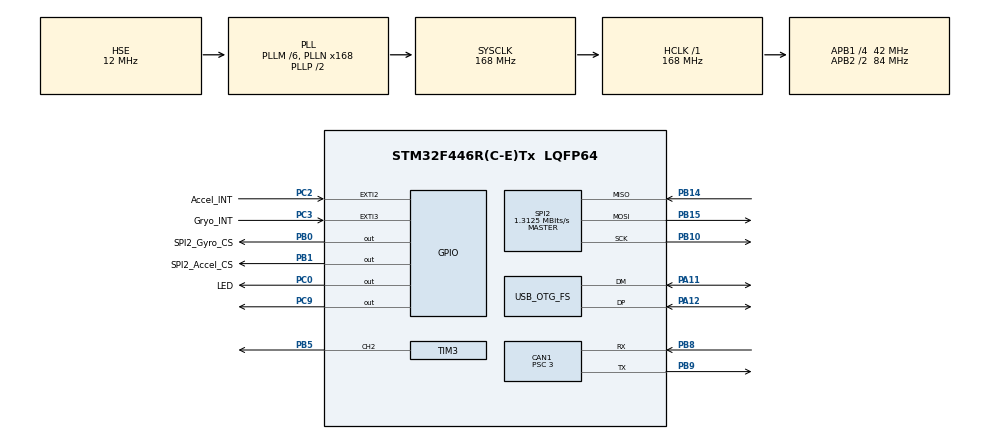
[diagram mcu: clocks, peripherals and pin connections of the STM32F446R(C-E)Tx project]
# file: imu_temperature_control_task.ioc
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CAN1.BS1=CAN_BS1_10TQ
CAN1.BS2=CAN_BS2_3TQ
CAN1.CalculateBaudRate=1000000
CAN1.CalculateTimeBit=1000
CAN1.CalculateTimeQuantum=71.42857142857143
CAN1.Prescaler=3
Dma.Request0=SPI2_RX
Dma.Request1=SPI2_TX
Dma.SPI2_RX.0.Direction=DMA_PERIPH_TO_MEMORY
Dma.SPI2_RX.0.FIFOMode=DMA_FIFOMODE_DISABLE
Dma.SPI2_RX.0.Instance=DMA1_Stream3
Dma.SPI2_RX.0.MemDataAlignment=DMA_MDATAALIGN_BYTE
Dma.SPI2_RX.0.MemInc=DMA_MINC_ENABLE
Dma.SPI2_RX.0.Mode=DMA_NORMAL
Dma.SPI2_RX.0.PeriphDataAlignment=DMA_PDATAALIGN_BYTE
Dma.SPI2_RX.0.PeriphInc=DMA_PINC_DISABLE
Dma.SPI2_RX.0.Priority=DMA_PRIORITY_VERY_HIGH
Dma.SPI2_TX.1.Direction=DMA_MEMORY_TO_PERIPH
Dma.SPI2_TX.1.FIFOMode=DMA_FIFOMODE_DISABLE
Dma.SPI2_TX.1.Instance=DMA1_Stream4
Dma.SPI2_TX.1.MemDataAlignment=DMA_MDATAALIGN_BYTE
Dma.SPI2_TX.1.MemInc=DMA_MINC_ENABLE
Dma.SPI2_TX.1.Mode=DMA_NORMAL
Dma.SPI2_TX.1.PeriphDataAlignment=DMA_PDATAALIGN_BYTE
Dma.SPI2_TX.1.PeriphInc=DMA_PINC_DISABLE
Dma.SPI2_TX.1.Priority=DMA_PRIORITY_HIGH
FREERTOS.INCLUDE_xTaskGetHandle=1
FREERTOS.Tasks01=TEMP_IMU,3,1024,imu_temp_control_task,As weak,NULL,Static,TEMP_IMUBuffer,TEMP_IMUControlBlock;Vofa,-3,512,Vofa_Task,Default,NULL,Static,VofaBuffer,VofaControlBlock
FREERTOS.configENABLE_FPU=1
Mcu.Family=STM32F4
Mcu.Name=STM32F446R(C-E)Tx
Mcu.Package=LQFP64
NVIC.CAN1_RX0_IRQn=true\:5\:0\:false\:false\:true\:true\:true\:true\:true
NVIC.DMA1_Stream3_IRQn=true\:5\:0\:false\:false\:true\:false\:false\:true\:true
NVIC.DMA1_Stream4_IRQn=true\:5\:0\:false\:false\:true\:false\:false\:true\:true
NVIC.OTG_FS_IRQn=true\:5\:0\:false\:false\:true\:false\:false\:true\:true
NVIC.PriorityGroup=NVIC_PRIORITYGROUP_4
NVIC.SPI2_IRQn=true\:5\:0\:false\:false\:true\:true\:true\:true\:true
NVIC.TIM2_IRQn=true\:15\:0\:false\:false\:true\:false\:false\:true\:true
NVIC.TIM8_BRK_TIM12_IRQn=true\:5\:0\:false\:false\:true\:true\:true\:true\:true
NVIC.TimeBase=TIM2_IRQn
NVIC.TimeBaseIP=TIM2
PA11.Mode=Device_Only
PA11.Signal=USB_OTG_FS_DM
PA12.Mode=Device_Only
PA12.Signal=USB_OTG_FS_DP
PA13.Mode=Serial_Wire
PA13.Signal=SYS_JTMS-SWDIO
PA14.Mode=Serial_Wire
PA14.Signal=SYS_JTCK-SWCLK
PB0.GPIO_Label=SPI2_Gyro_CS
PB0.Signal=GPIO_Output
PB1.GPIO_Label=SPI2_Accel_CS
PB1.Signal=GPIO_Output
PB10.Mode=Full_Duplex_Master
PB10.Signal=SPI2_SCK
PB14.Mode=Full_Duplex_Master
PB14.Signal=SPI2_MISO
PB15.Mode=Full_Duplex_Master
PB15.Signal=SPI2_MOSI
PB5.GPIO_PuPd=GPIO_PULLDOWN
PB5.GPIO_Speed=GPIO_SPEED_FREQ_HIGH
PB5.Signal=S_TIM3_CH2
PB8.Mode=CAN_Activate
PB8.Signal=CAN1_RX
PB9.Mode=CAN_Activate
PB9.Signal=CAN1_TX
PC0.GPIO_Label=LED
PC0.GPIO_ModeDefaultOutputPP=GPIO_MODE_OUTPUT_PP
PC0.GPIO_PuPd=GPIO_NOPULL
PC0.GPIO_Speed=GPIO_SPEED_FREQ_LOW
PC0.PinState=GPIO_PIN_RESET
PC0.Signal=GPIO_Output
PC2.GPIO_Label=Accel_INT
PC2.Signal=GPXTI2
PC3.GPIO_Label=Gryo_INT
PC3.GPIO_PuPd=GPIO_PULLUP
PC3.Signal=GPXTI3
PC9.GPIO_PuPd=GPIO_PULLUP
PC9.GPIO_Speed=GPIO_SPEED_FREQ_HIGH
PC9.Signal=GPIO_Output
PH0-OSC_IN.Mode=HSE-External-Oscillator
PH0-OSC_IN.Signal=RCC_OSC_IN
PH1-OSC_OUT.Mode=HSE-External-Oscillator
PH1-OSC_OUT.Signal=RCC_OSC_OUT
ProjectManager.HeapSize=0x400
ProjectManager.StackSize=0x800
ProjectManager.TargetToolchain=MDK-ARM V5.27
RCC.AHBFreq_Value=168000000
RCC.APB1CLKDivider=RCC_HCLK_DIV4
RCC.APB1Freq_Value=42000000
RCC.APB1TimFreq_Value=84000000
RCC.APB2CLKDivider=RCC_HCLK_DIV2
RCC.APB2Freq_Value=84000000
RCC.APB2TimFreq_Value=168000000
RCC.CortexFreq_Value=168000000
RCC.HCLKFreq_Value=168000000
RCC.HSE_VALUE=12000000
RCC.PLLM=6
RCC.PLLN=168
RCC.PLLQ=7
RCC.PLLSAIM=6
RCC.PLLSAIN=96
RCC.PLLSAIP=RCC_PLLSAIP_DIV4
RCC.SYSCLKFreq_VALUE=168000000
RCC.SYSCLKSource=RCC_SYSCLKSOURCE_PLLCLK
RCC.USBFreq_Value=48000000
RCC.VCOOutputFreq_Value=336000000
SH.S_TIM3_CH2.0=TIM3_CH2,PWM Generation2 CH2
SPI2.BaudRatePrescaler=SPI_BAUDRATEPRESCALER_32
SPI2.CLKPhase=SPI_PHASE_2EDGE
SPI2.CLKPolarity=SPI_POLARITY_HIGH
SPI2.CalculateBaudRate=1.3125 MBits/s
SPI2.Direction=SPI_DIRECTION_2LINES
SPI2.Mode=SPI_MODE_MASTER
SPI2.VirtualType=VM_MASTER
TIM12.Period=1000-1
TIM12.Prescaler=84-1
TIM3.Channel-PWM\ Generation2\ CH2=TIM_CHANNEL_2
TIM3.Period=4999
USB_DEVICE.CLASS_NAME_FS=CDC
USB_DEVICE.VirtualMode-CDC_FS=Cdc
USB_DEVICE.VirtualModeFS=Cdc_FS
USB_OTG_FS.VirtualMode=Device_Only
VP_FREERTOS_VS_CMSIS_V1.Mode=CMSIS_V1
VP_SYS_VS_tim2.Mode=TIM2
VP_TIM12_VS_ClockSourceINT.Mode=Internal
VP_USB_DEVICE_VS_USB_DEVICE_CDC_FS.Mode=CDC_FS
board=custom

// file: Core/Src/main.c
/* USER CODE BEGIN Header */
/**
  ******************************************************************************
  * @file           : main.c
  * @brief          : Main program body
  ******************************************************************************
  * @attention
  *
  * <h2><center>&copy; Copyright (c) 2023 STMicroelectronics.
  * All rights reserved.</center></h2>
  *
  * This software component is licensed by ST under Ultimate Liberty license
  * SLA0044, the "License"; You may not use this file except in compliance with
  * the License. You may obtain a copy of the License at:
  *                             www.st.com/SLA0044
  *
  ******************************************************************************
  */
/* USER CODE END Header */
#include "main.h"
#include "cmsis_os.h"
#include "can.h"
#include "dma.h"
#include "spi.h"
#include "tim.h"
#include "usb_device.h"
#include "gpio.h"

/* USER CODE BEGIN Includes */
#include "imu_temp_control_task.h"
#include "RUI_CAN.h"
/* USER CODE END Includes */

void SystemClock_Config(void);
void MX_FREERTOS_Init(void);

int main(void)
{

  /* MCU Configuration--------------------------------------------------------*/

  /* Reset of all peripherals, Initializes the Flash interface and the Systick. */
  HAL_Init();

  /* Configure the system clock */
  SystemClock_Config();

  /* Initialize all configured peripherals */
  MX_GPIO_Init();
  MX_DMA_Init();
  MX_SPI2_Init();
  MX_TIM3_Init();
  MX_CAN1_Init();
  MX_TIM12_Init();
  /* USER CODE BEGIN 2 */
	CAN_Filter_Init();
  /* USER CODE END 2 */

  /* Call init function for freertos objects (in freertos.c) */
  MX_FREERTOS_Init();

  /* Start scheduler */
  osKernelStart();

  /* We should never get here as control is now taken by the scheduler */
  /* Infinite loop */
  while (1)
  {

  }
}

void SystemClock_Config(void)
{
  RCC_OscInitTypeDef RCC_OscInitStruct = {0};
  RCC_ClkInitTypeDef RCC_ClkInitStruct = {0};

  /** Configure the main internal regulator output voltage
  */
  __HAL_RCC_PWR_CLK_ENABLE();
  __HAL_PWR_VOLTAGESCALING_CONFIG(PWR_REGULATOR_VOLTAGE_SCALE1);

  /** Initializes the RCC Oscillators according to the specified parameters
  * in the RCC_OscInitTypeDef structure.
  */
  RCC_OscInitStruct.OscillatorType = RCC_OSCILLATORTYPE_HSE;
  RCC_OscInitStruct.HSEState = RCC_HSE_ON;
  RCC_OscInitStruct.PLL.PLLState = RCC_PLL_ON;
  RCC_OscInitStruct.PLL.PLLSource = RCC_PLLSOURCE_HSE;
  RCC_OscInitStruct.PLL.PLLM = 6;
  RCC_OscInitStruct.PLL.PLLN = 168;
  RCC_OscInitStruct.PLL.PLLP = RCC_PLLP_DIV2;
  RCC_OscInitStruct.PLL.PLLQ = 7;
  RCC_OscInitStruct.PLL.PLLR = 2;
  if (HAL_RCC_OscConfig(&RCC_OscInitStruct) != HAL_OK)
  {
    Error_Handler();
  }

  /** Initializes the CPU, AHB and APB buses clocks
  */
  RCC_ClkInitStruct.ClockType = RCC_CLOCKTYPE_HCLK|RCC_CLOCKTYPE_SYSCLK
                              |RCC_CLOCKTYPE_PCLK1|RCC_CLOCKTYPE_PCLK2;
  RCC_ClkInitStruct.SYSCLKSource = RCC_SYSCLKSOURCE_PLLCLK;
  RCC_ClkInitStruct.AHBCLKDivider = RCC_SYSCLK_DIV1;
  RCC_ClkInitStruct.APB1CLKDivider = RCC_HCLK_DIV4;
  RCC_ClkInitStruct.APB2CLKDivider = RCC_HCLK_DIV2;

  if (HAL_RCC_ClockConfig(&RCC_ClkInitStruct, FLASH_LATENCY_5) != HAL_OK)
  {
    Error_Handler();
  }
}

/* USER CODE BEGIN 4 */
union send_t
{
	struct __packed
	{
		int16_t Angle_Yaw;
		int16_t Angle_Pitch;
		int16_t Speed_Yaw;
		int16_t Speed_Pitch;
	}channal;
	uint8_t data[8];
};

union send_t send;

/* USER CODE END 4 */

void HAL_TIM_PeriodElapsedCallback(TIM_HandleTypeDef *htim)
{
  if (htim->Instance == TIM2) {
    HAL_IncTick();
  }
  /* USER CODE BEGIN Callback 1 */
  if (htim->Instance == TIM12) {
	  send.channal.Angle_Pitch = (int16_t)pitch*80;
	  send.channal.Angle_Yaw = (int16_t)yaw*80;
	  send.channal.Speed_Pitch = (int16_t)gyro[0];
	  send.channal.Speed_Yaw = (int16_t)gyro[2];
	  RUI_F_CAN_SEDN_UNION(&hcan1 , 0x101 , send.data);
  }
  /* USER CODE END Callback 1 */
}

void Error_Handler(void)
{
}

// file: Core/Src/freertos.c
/* USER CODE BEGIN Header */
/**
  ******************************************************************************
  * File Name          : freertos.c
  * Description        : Code for freertos applications
  ******************************************************************************
  * @attention
  *
  * <h2><center>&copy; Copyright (c) 2023 STMicroelectronics.
  * All rights reserved.</center></h2>
  *
  * This software component is licensed by ST under Ultimate Liberty license
  * SLA0044, the "License"; You may not use this file except in compliance with
  * the License. You may obtain a copy of the License at:
  *                             www.st.com/SLA0044
  *
  ******************************************************************************
  */
/* USER CODE END Header */

#include "FreeRTOS.h"
#include "task.h"
#include "main.h"
#include "cmsis_os.h"

/* USER CODE BEGIN Includes */
#include "imu_temp_control_task.h"
#include "vofa.h"
#include "RUI_CAN.h"
/* USER CODE END Includes */

osThreadId TEMP_IMUHandle;
uint32_t TEMP_IMUBuffer[ 1024 ];
osStaticThreadDef_t TEMP_IMUControlBlock;
osThreadId VofaHandle;
uint32_t VofaBuffer[ 512 ];
osStaticThreadDef_t VofaControlBlock;

/* USER CODE BEGIN FunctionPrototypes */
osThreadId LEDHandle;
/* USER CODE END FunctionPrototypes */

void imu_temp_control_task(void const * argument);
void Vofa_Task(void const * argument);

extern void MX_USB_DEVICE_Init(void);
void MX_FREERTOS_Init(void); /* (MISRA C 2004 rule 8.1) */

/* GetIdleTaskMemory prototype (linked to static allocation support) */
void vApplicationGetIdleTaskMemory( StaticTask_t **ppxIdleTaskTCBBuffer, StackType_t **ppxIdleTaskStackBuffer, uint32_t *pulIdleTaskStackSize );

/* USER CODE BEGIN GET_IDLE_TASK_MEMORY */
static StaticTask_t xIdleTaskTCBBuffer;
static StackType_t xIdleStack[configMINIMAL_STACK_SIZE];

void vApplicationGetIdleTaskMemory( StaticTask_t **ppxIdleTaskTCBBuffer, StackType_t **ppxIdleTaskStackBuffer, uint32_t *pulIdleTaskStackSize )
{
  *ppxIdleTaskTCBBuffer = &xIdleTaskTCBBuffer;
  *ppxIdleTaskStackBuffer = &xIdleStack[0];
  *pulIdleTaskStackSize = configMINIMAL_STACK_SIZE;
  /* place for user code */
}
/* USER CODE END GET_IDLE_TASK_MEMORY */

void MX_FREERTOS_Init(void) {

  /* Create the thread(s) */
  /* definition and creation of TEMP_IMU */
  osThreadStaticDef(TEMP_IMU, imu_temp_control_task, osPriorityRealtime, 0, 1024, TEMP_IMUBuffer, &TEMP_IMUControlBlock);
  TEMP_IMUHandle = osThreadCreate(osThread(TEMP_IMU), NULL);

  /* definition and creation of Vofa */
  osThreadStaticDef(Vofa, Vofa_Task, osPriorityIdle, 0, 512, VofaBuffer, &VofaControlBlock);
  VofaHandle = osThreadCreate(osThread(Vofa), NULL);

}

__weak void imu_temp_control_task(void const * argument)
{
  /* init code for USB_DEVICE */
  MX_USB_DEVICE_Init();
  /* USER CODE BEGIN imu_temp_control_task */
		Imu_Init();
  /* Infinite loop */
  for(;;)
  {
		INS_Task();
    osDelay(1);
  }
  /* USER CODE END imu_temp_control_task */
}

void Vofa_Task(void const * argument)
{
  /* USER CODE BEGIN Vofa_Task */
  /* Infinite loop */
  for(;;)
  {
		vofa_start();
	  RUI_F_CAN_SEDN(&hcan1 , 0x101 , 16 , 17 , 18 , 19);
    osDelay(2);
  }
  /* USER CODE END Vofa_Task */
}
